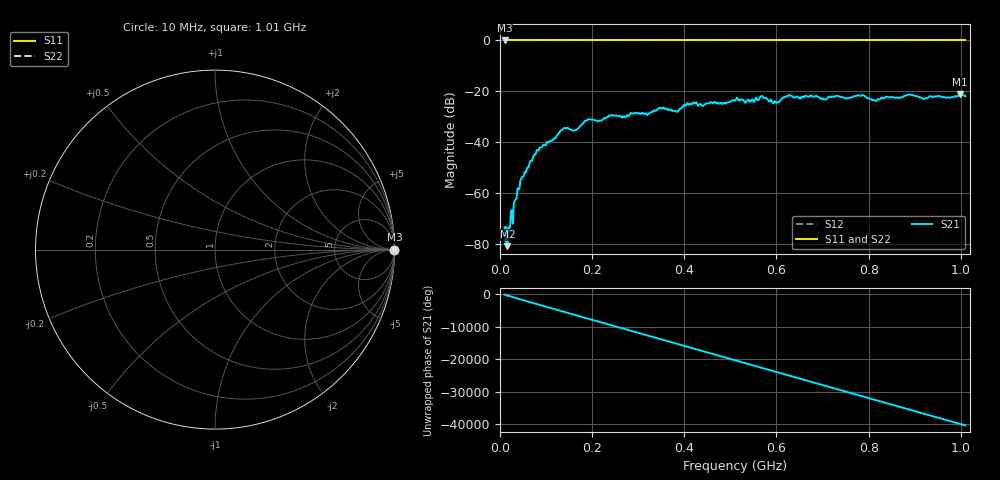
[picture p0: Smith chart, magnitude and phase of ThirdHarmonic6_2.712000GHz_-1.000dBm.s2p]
! 8/17/2025 6:33:43 AM
! C:\ANRITSUVNA\TEMP\TEMP.S2P
! CHANNEL.1
! TR.MEASUREMENT
! RAW.DATA
! RF.CORRECTION.OFF
! AVERAGING.OFF
! IF.BANDWIDTH: 5KHZ
! SWEEPTYPE:  FREQ.SWEEP(Linear)
! Reference Plane Port Info
! PORT:  PORT1  PORT2
! DISTANCE:  0  m  0  m
! TIME:  0  s  0  s
! PHASE.OFFSET:  0  deg.  0  deg.
! LOSS:  0  dB  0  dB
! REF.LOSS:  0  dB  0  dB
! REF.FREQ:  0  Hz  0  Hz
! Power Info
! POWER:  -20  dBm  -20  dBm
! EFF.POWER:  -20  dBm  -20  dBm
! SOURCE.ATTEN:  0  dB  0  dB
! TEST.ATTEN:  0  dB  0  dB
# GHZ S RI R 50.0
! FREQ.GHZ  S11RE  S11IM  S21RE  S21IM  S12RE  S12IM  S22RE  S22IM
!; PortSelection: Port_12
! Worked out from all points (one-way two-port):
!   501 points, 10 MHz to 1.01 GHz, reference 50 ohm
!   highest |S21| = -21.25 dB at 998 MHz (marker M1); lowest = -80.9 dB at 16 MHz (marker M2)
!   lowest |S11| = 0.0 dB at 10 MHz (marker M3)
!   |S11| at or under -10 dB: nowhere
!   |S22| runs from 0.0 to 0.0 dB; largest |S21 - S12| = 1.1
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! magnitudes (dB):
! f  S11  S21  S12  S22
! 10 MHz  0.0  -73.5  0.0  0.0
! 16 MHz  0.0  -80.9  0.0  0.0
! 42 MHz  0.0  -58.4  0.0  0.0
! 76 MHz  0.0  -45.0  0.0  0.0
! 136 MHz  0.0  -35.0  0.0  0.0
! 162 MHz  0.0  -35.4  0.0  0.0
! 178 MHz  0.0  -33.0  0.0  0.0
! 192 MHz  0.0  -31.0  0.0  0.0
! 322 MHz  0.0  -28.8  0.0  0.0
! 344 MHz  0.0  -26.9  0.0  0.0
! 382 MHz  0.0  -27.9  0.0  0.0
! 410 MHz  0.0  -25.4  0.0  0.0
! 510 MHz  0.0  -23.7  0.0  0.0
! 568 MHz  0.0  -21.8  0.0  0.0
! 602 MHz  0.0  -24.4  0.0  0.0
! 626 MHz  0.0  -21.6  0.0  0.0
! 678 MHz  0.0  -22.1  0.0  0.0
! 788 MHz  0.0  -21.5  0.0  0.0
! 814 MHz  0.0  -23.6  0.0  0.0
! 844 MHz  0.0  -22.3  0.0  0.0
! 998 MHz  0.0  -21.3  0.0  0.0
! 1.01 GHz  0.0  -22.0  0.0  0.0
